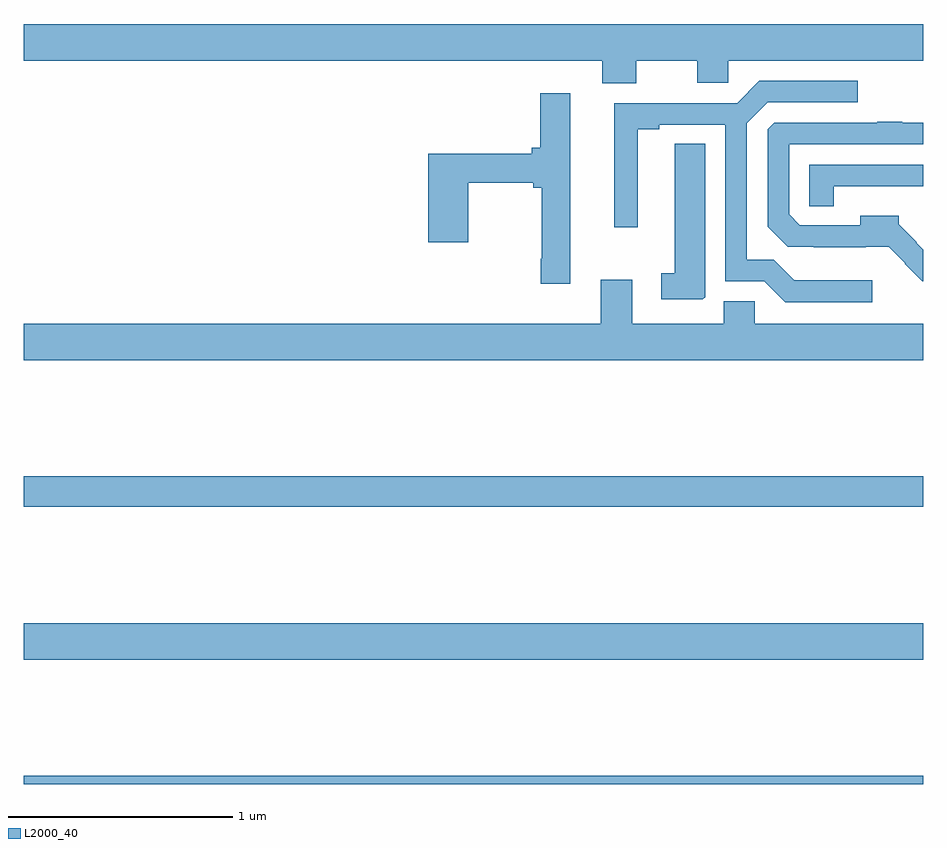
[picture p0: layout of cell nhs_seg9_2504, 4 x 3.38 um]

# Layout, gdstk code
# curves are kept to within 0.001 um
import gdstk
lib = gdstk.Library(unit=1e-6, precision=1e-09)
def R(c, l, rs):  # rectangles x0, y0, x1, y1
    for r in rs: c.add(gdstk.rectangle(r[:2], r[2:], *l))
def P(c, l, *ps):  # polygons
    for p in ps: c.add(gdstk.Polygon(p, *l))
L2000_40 = (2000, 40)

nhs_seg9_2504 = lib.new_cell('nhs_seg9_2504')
R(nhs_seg9_2504, L2000_40, [(253,1230.5,257,1230.536), (253,1231.052,257,1231.216), (253,1231.732,257,1231.868)])
P(nhs_seg9_2504, L2000_40, [(255.724,1233.716),(255.995,1233.716),(255.995,1233.618),(256.134,1233.618),(256.134,1233.716),(257,1233.716),(257,1233.88),(253,1233.88),(253,1233.716),(255.572,1233.716),(255.572,1233.617),(255.724,1233.617)],
  [(256.774,1232.74),(256.427,1232.74),(256.336,1232.831),(256.215,1232.831),(256.215,1233.438),(256.308,1233.531),(256.708,1233.531),(256.708,1233.627),(256.271,1233.627),(256.172,1233.528),(255.626,1233.528),(255.626,1232.976),(255.73,1232.976),(255.73,1233.412),(255.826,1233.412),(255.826,1233.432),(256.119,1233.432),(256.119,1232.736),(256.293,1232.736),(256.386,1232.643),(256.774,1232.643)],
  [(255.43,1233.571),(255.296,1233.571),(255.296,1233.33),(255.26,1233.33),(255.26,1233.304),(254.798,1233.304),(254.798,1232.91),(254.976,1232.91),(254.976,1233.175),(255.265,1233.175),(255.265,1233.152),(255.304,1233.152),(255.304,1232.836),(255.299,1232.836),(255.299,1232.724),(255.43,1232.724)],
  [(257,1232.875),(256.968,1232.907),(256.971,1232.91),(256.892,1232.989),(256.892,1233.028),(256.721,1233.028),(256.721,1232.985),(256.452,1232.985),(256.404,1233.033),(256.404,1233.345),(257,1233.345),(257,1233.441),(256.907,1233.441),(256.907,1233.446),(256.795,1233.446),(256.795,1233.441),(256.338,1233.441),(256.308,1233.411),(256.308,1232.979),(256.397,1232.89),(256.513,1232.89),(256.513,1232.888),(256.847,1232.889),(256.921,1232.815),(256.919,1232.813),(256.995,1232.736),(257,1232.736)],
  [(256.03,1232.665),(256.03,1233.347),(255.896,1233.347),(255.896,1232.771),(255.834,1232.771),(255.834,1232.655),(256.02,1232.655)],
  [(256.603,1233.158),(256.857,1233.158),(256.857,1233.159),(257,1233.159),(257,1233.255),(256.494,1233.255),(256.494,1233.07),(256.603,1233.07)],
  [(257,1232.548),(256.251,1232.548),(256.251,1232.646),(256.112,1232.646),(256.112,1232.548),(255.706,1232.548),(255.706,1232.743),(255.566,1232.743),(255.566,1232.548),(253,1232.548),(253,1232.384),(257,1232.384)])

lib.write_gds('nhs_seg9_2504.gds')
